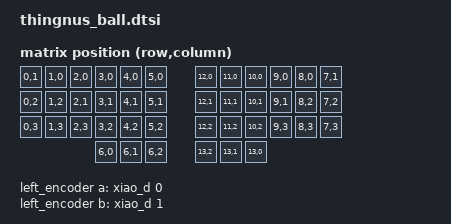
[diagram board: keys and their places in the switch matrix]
#define ZMK_MOUSE_SCRL_VAL 140

#include <dt-bindings/zmk/matrix_transform.h>
#include <dt-bindings/zmk/input_transform.h>
#include <input/processors.dtsi>
#include <dt-bindings/zmk/pointing.h>
#include <physical_layouts.dtsi>

/ {
    chosen {
        zmk,physical-layout = &physical_layout0;
    };

    physical_layout0: physical_layout_0 {
        compatible = "zmk,physical-layout";
        display-name = "Default Layout";
    };
  
    default_transform: keymap_transform_0 {
        compatible = "zmk,matrix-transform";
        columns = <14>;
        rows = <14>;
// | SW1 | SW4 | SW7 | SW10 | SW13 | SW16 |                 | SW22 | SW25 | SW28 | SW31 | SW34 | SW37 |
// | SW2 | SW5 | SW8 | SW11 | SW14 | SW17 |                 | SW23 | SW26 | SW29 | SW32 | SW35 | SW38 |
// | SW3 | SW6 | SW9 | SW12 | SW15 | SW18 |                 | SW24 | SW27 | SW30 | SW33 | SW36 | SW39 |
//                   | SW19 | SW20 | SW21 |                 | SW41 | SW42 | SW43 |
        map = <
          RC(0,1) RC(1,0) RC(2,0) RC(3,0) RC(4,0) RC(5,0)    RC(12,0) RC(11,0) RC(10,0) RC( 9,0) RC( 8,0) RC(7,1)
          RC(0,2) RC(1,2) RC(2,1) RC(3,1) RC(4,1) RC(5,1)    RC(12,1) RC(11,1) RC(10,1) RC( 9,1) RC( 8,2) RC(7,2)
          RC(0,3) RC(1,3) RC(2,3) RC(3,2) RC(4,2) RC(5,2)    RC(12,2) RC(11,2) RC(10,2) RC( 9,3) RC( 8,3) RC(7,3)
                                  RC(6,0) RC(6,1) RC(6,2)    RC(13,2) RC(13,1) RC(13,0)
        >;
    };

    kscan0: kscan_charlyplex {
      compatible = "zmk,kscan-gpio-charlieplex";
      wakeup-source;

      interrupt-gpios = <&xiao_d 3 (GPIO_ACTIVE_HIGH | GPIO_PULL_DOWN)>;
      
      gpios = <&xiao_d 4  (GPIO_ACTIVE_HIGH)>  // 0
            , <&xiao_d 5 (GPIO_ACTIVE_HIGH)>  // 1
            , <&xiao_d 6  (GPIO_ACTIVE_HIGH)>  // 2
            , <&xiao_d 7  (GPIO_ACTIVE_HIGH)>  // 3
            , <&xiao_d 8   (GPIO_ACTIVE_HIGH)>  // 4
            , <&xiao_d 9  (GPIO_ACTIVE_HIGH)>  // 5
            , <&xiao_d 10  (GPIO_ACTIVE_HIGH)>  // 6
            ;
    };

    // Encoder definitions
    left_encoder: encoder_left {
        compatible = "alps,ec11";
        a-gpios = <&xiao_d 0 (GPIO_ACTIVE_HIGH | GPIO_PULL_UP)>;
        b-gpios = <&xiao_d 1 (GPIO_ACTIVE_HIGH | GPIO_PULL_UP)>;
        steps = <72>;
        status = "disabled";
    };

    sensors: sensors {
        compatible = "zmk,keymap-sensors";
        sensors = <&left_encoder>;
        triggers-per-rotation = <20>;
    };

    // auto mouse layer
    /omit-if-no-ref/ zip_temp_layer: zip_temp_layer {
        compatible = "zmk,input-processor-temp-layer";
        #input-processor-cells = <2>;
        excluded-positions = <
            16 // F
            15 // D
            13 // A
            12 // LCtrl
            24 // LShift
            35 // scroll toggle
            36 // Alt/Cmd
        >;
        // do not enable tepm layer unless 200ms after key input
        require-prior-idle-ms = <200>;
    };
};

&physical_layout0 {
    kscan = <&kscan0>;
    transform = <&default_transform>;

    keys    //                     w   h    x    y     rot    rx    ry
            = <&key_physical_attrs 50  50   0    0       0     0     0>
            , <&key_physical_attrs 50  50  50    0       0     0     0>
            , <&key_physical_attrs 50  50 100    0       0     0     0>
            , <&key_physical_attrs 50  50 150    0       0     0     0>
            , <&key_physical_attrs 50  50 200    0       0     0     0>
            , <&key_physical_attrs 50  50 250    0       0     0     0>
            , <&key_physical_attrs 50  50 350    0       0     0     0>
            , <&key_physical_attrs 50  50 400    0       0     0     0>
            , <&key_physical_attrs 50  50 450    0       0     0     0>
            , <&key_physical_attrs 50  50 500    0       0     0     0>
            , <&key_physical_attrs 50  50 550    0       0     0     0>
            , <&key_physical_attrs 50  50 600    0       0     0     0>
            // row 2
            , <&key_physical_attrs 50  50   0   50       0     0     0>
            , <&key_physical_attrs 50  50  50   50       0     0     0>
            , <&key_physical_attrs 50  50 100   50       0     0     0>
            , <&key_physical_attrs 50  50 150   50       0     0     0>
            , <&key_physical_attrs 50  50 200   50       0     0     0>
            , <&key_physical_attrs 50  50 250   50       0     0     0>
            , <&key_physical_attrs 50  50 350   50       0     0     0>
            , <&key_physical_attrs 50  50 400   50       0     0     0>
            , <&key_physical_attrs 50  50 450   50       0     0     0>
            , <&key_physical_attrs 50  50 500   50       0     0     0>
            , <&key_physical_attrs 50  50 550   50       0     0     0>
            , <&key_physical_attrs 50  50 600   50       0     0     0>
            // row 3
            , <&key_physical_attrs 50  50   0  100       0     0     0>
            , <&key_physical_attrs 50  50  50  100       0     0     0>
            , <&key_physical_attrs 50  50 100  100       0     0     0>
            , <&key_physical_attrs 50  50 150  100       0     0     0>
            , <&key_physical_attrs 50  50 200  100       0     0     0>
            , <&key_physical_attrs 50  50 250  100       0     0     0>
            , <&key_physical_attrs 50  50 350  100       0     0     0>
            , <&key_physical_attrs 50  50 400  100       0     0     0>
            , <&key_physical_attrs 50  50 450  100       0     0     0>
            , <&key_physical_attrs 50  50 500  100       0     0     0>
            , <&key_physical_attrs 50  50 550  100       0     0     0>
            , <&key_physical_attrs 50  50 600  100       0     0     0>
            // row 4
            , <&key_physical_attrs 50  50 150  150       0     0     0>
            , <&key_physical_attrs 50  50 200  150       0     0     0>
            , <&key_physical_attrs 50  50 250  150       0     0     0>
            , <&key_physical_attrs 50  50 350  150       0     0     0>
            , <&key_physical_attrs 50  50 400  150       0     0     0>
            , <&key_physical_attrs 50  50 450  150       0     0     0>
            ;
};

// enable extra gpios
&uicr {
    nfct-pins-as-gpios;
};
